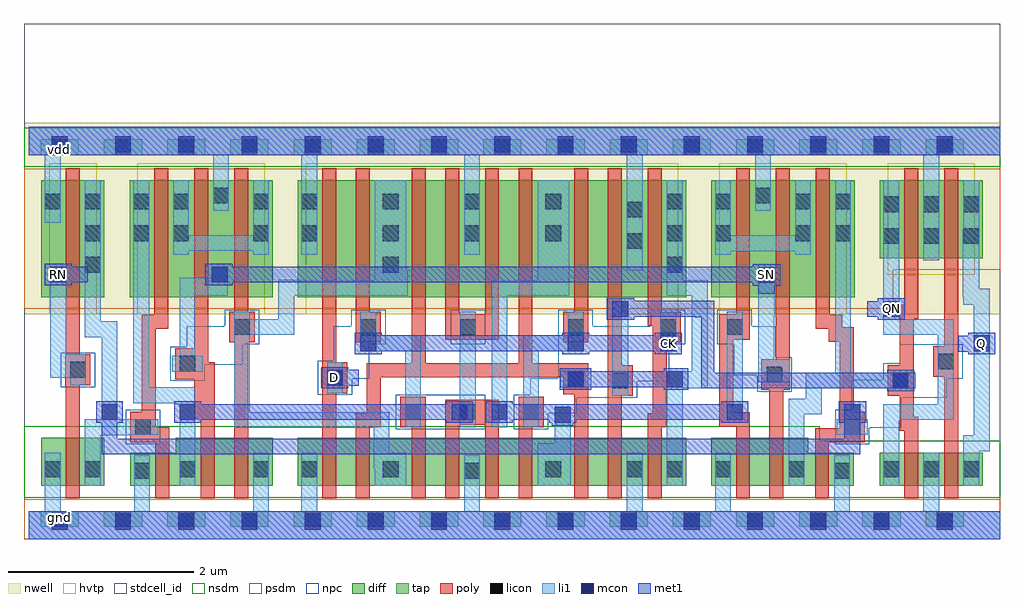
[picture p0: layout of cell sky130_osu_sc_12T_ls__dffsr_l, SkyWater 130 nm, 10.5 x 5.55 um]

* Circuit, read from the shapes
.subckt sky130_osu_sc_12T_ls__dffsr_l CK D Q QN RN SN gnd vdd
XM1 n1 RN gnd gnd sky130_fd_pr__nfet_01v8 w=0.52 l=0.15
XM2 n2 n1 gnd gnd sky130_fd_pr__nfet_01v8 w=0.36 l=0.15
XM3 n3 SN n2 gnd sky130_fd_pr__nfet_01v8 w=0.52 l=0.15
XM4 gnd n4 n3 gnd sky130_fd_pr__nfet_01v8 w=0.52 l=0.15
XM5 n5 D gnd gnd sky130_fd_pr__nfet_01v8 w=0.52 l=0.15
XM6 n4 n6 n5 gnd sky130_fd_pr__nfet_01v8 w=0.52 l=0.15
XM7 n7 CK n4 gnd sky130_fd_pr__nfet_01v8 w=0.52 l=0.15
XM8 gnd n2 n7 gnd sky130_fd_pr__nfet_01v8 w=0.52 l=0.15
XM9 n8 n2 gnd gnd sky130_fd_pr__nfet_01v8 w=0.52 l=0.15
XM10 n9 CK n8 gnd sky130_fd_pr__nfet_01v8 w=0.52 l=0.15
XM11 n10 n6 n9 gnd sky130_fd_pr__nfet_01v8 w=0.52 l=0.15
XM12 gnd n11 n10 gnd sky130_fd_pr__nfet_01v8 w=0.52 l=0.15
XM13 n6 CK gnd gnd sky130_fd_pr__nfet_01v8 w=0.52 l=0.15
XM14 n12 n9 gnd gnd sky130_fd_pr__nfet_01v8 w=0.52 l=0.15
XM15 n11 SN n12 gnd sky130_fd_pr__nfet_01v8 w=0.52 l=0.15
XM16 gnd n1 n11 gnd sky130_fd_pr__nfet_01v8 w=0.36 l=0.15
XM17 gnd n11 QN gnd sky130_fd_pr__nfet_01v8 w=0.36 l=0.15
XM18 Q QN gnd gnd sky130_fd_pr__nfet_01v8 w=0.36 l=0.15
XM19 n1 RN vdd vdd sky130_fd_pr__pfet_01v8_hvt w=1.26 l=0.15
XM20 n13 n1 n2 vdd sky130_fd_pr__pfet_01v8_hvt w=1.26 l=0.15
XM21 vdd SN n13 vdd sky130_fd_pr__pfet_01v8_hvt w=1.26 l=0.15
XM22 n13 n4 vdd vdd sky130_fd_pr__pfet_01v8_hvt w=1.26 l=0.15
XM23 n14 D vdd vdd sky130_fd_pr__pfet_01v8_hvt w=1.26 l=0.15
XM24 n4 CK n14 vdd sky130_fd_pr__pfet_01v8_hvt w=1.26 l=0.15
XM25 n15 n6 n4 vdd sky130_fd_pr__pfet_01v8_hvt w=1.26 l=0.15
XM26 vdd n2 n15 vdd sky130_fd_pr__pfet_01v8_hvt w=1.26 l=0.15
XM27 n16 n2 vdd vdd sky130_fd_pr__pfet_01v8_hvt w=1.26 l=0.15
XM28 n9 n6 n16 vdd sky130_fd_pr__pfet_01v8_hvt w=1.26 l=0.15
XM29 n17 CK n9 vdd sky130_fd_pr__pfet_01v8_hvt w=1.26 l=0.15
XM30 vdd n11 n17 vdd sky130_fd_pr__pfet_01v8_hvt w=1.26 l=0.15
XM31 n6 CK vdd vdd sky130_fd_pr__pfet_01v8_hvt w=1.26 l=0.15
XM32 vdd n9 n18 vdd sky130_fd_pr__pfet_01v8_hvt w=1.26 l=0.15
XM33 n18 SN vdd vdd sky130_fd_pr__pfet_01v8_hvt w=1.26 l=0.15
XM34 n11 n1 n18 vdd sky130_fd_pr__pfet_01v8_hvt w=1.26 l=0.15
XM35 vdd n11 QN vdd sky130_fd_pr__pfet_01v8_hvt w=0.84 l=0.15
XM36 Q QN vdd vdd sky130_fd_pr__pfet_01v8_hvt w=0.84 l=0.15
.ends

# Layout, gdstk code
import gdstk
lib = gdstk.Library(unit=1e-6, precision=1e-09)
def R(c, l, rs):  # rectangles x0, y0, x1, y1
    for r in rs: c.add(gdstk.rectangle(r[:2], r[2:], *l))
def A(c, l, x, y, w, h, nx, ny, dx, dy):  # array of equal rectangles
    R(c, l, [(x+i*dx, y+j*dy, x+i*dx+w, y+j*dy+h) for i in range(nx) for j in range(ny)])
nwell = (64, 20)
diff = (65, 20)
tap = (65, 44)
poly = (66, 20)
licon = (66, 44)
li1 = (67, 20)
mcon = (67, 44)
met1 = (68, 20)
hvtp = (78, 44)
stdcell_id = (81, 4)
nsdm = (93, 44)
psdm = (94, 20)
npc = (95, 20)

sky130_osu_sc_12t_ls__df = lib.new_cell('sky130_osu_sc_12T_ls__dffsr_l')
R(sky130_osu_sc_12t_ls__df, nwell, [(-0.05,2.425,10.45,4.485)])
R(sky130_osu_sc_12t_ls__df, diff, [(0.135,0.575,0.815,1.095), (1.095,0.575,2.625,0.935), (2.895,0.575,7.075,1.095), (7.345,0.575,8.875,0.935), (9.155,0.575,10.265,0.935), (1.585,0.935,2.625,1.095), (7.345,0.935,8.385,1.095), (0.135,2.605,0.815,3.865), (1.085,2.605,2.625,3.865), (2.895,2.605,7.075,3.865), (7.345,2.605,8.885,3.865), (9.155,3.025,10.265,3.865)])
A(sky130_osu_sc_12t_ls__df, tap, 0.13, 0.135, 0.41, 0.17, 15, 2, 0.68, 4)
R(sky130_osu_sc_12t_ls__df, poly, [(0.4,0.445,0.55,1.655), (1.36,0.445,1.51,1.045), (1.85,0.445,2,1.295), (2.21,0.445,2.36,2.12), (3.16,0.445,3.31,1.575), (3.52,0.445,3.67,1.205), (4.12,0.445,4.27,1.205), (4.48,0.445,4.63,1.235), (4.91,0.445,5.06,1.235), (5.27,0.445,5.42,1.205), (5.87,0.445,6.02,1.56), (6.23,0.445,6.38,1.545), (6.66,0.445,6.81,1.205), (7.61,0.445,7.76,1.21), (7.97,0.445,8.12,1.61), (8.46,0.445,8.61,1.045), (9.42,0.445,9.57,1.17), (9.85,0.445,10,1.75), (1.095,1.045,1.51,1.205), (8.46,1.045,8.995,1.195), (9.37,1.17,9.57,1.32), (8.725,1.195,8.995,1.375), (1.095,1.205,1.365,1.375), (3.52,1.205,3.79,1.355), (4,1.205,4.27,1.535), (5.27,1.205,5.54,1.535), (6.66,1.205,6.865,1.355), (7.43,1.21,7.76,1.37), (4.48,1.235,5.06,1.505), (1.78,1.295,2,1.725), (9.37,1.32,9.52,1.545), (3.64,1.355,3.79,1.745), (6.715,1.355,6.865,2.12), (7.43,1.37,7.58,2.15), (1.215,1.375,1.365,2.265), (8.725,1.375,8.875,2.125), (6.23,1.545,6.5,1.875), (9.245,1.545,9.52,1.875), (5.75,1.56,6.02,1.745), (3.16,1.575,3.43,1.905), (7.88,1.61,8.19,1.94), (0.395,1.655,0.55,1.66), (0.395,1.66,0.665,1.99), (1.575,1.725,2,1.905), (3.64,1.745,6.02,1.895), (9.73,1.75,10,2.08), (6.23,1.875,6.38,3.995), (9.37,1.875,9.52,2.375), (4.12,1.895,4.27,3.995), (5.27,1.895,5.42,3.995), (1.575,1.905,1.93,2.055), (3.16,1.905,3.31,3.995), (8.04,1.94,8.19,3.995), (0.4,1.99,0.55,3.995), (1.78,2.055,1.93,3.995), (9.85,2.08,10,3.995), (2.16,2.12,2.43,2.45), (3.52,2.12,3.79,2.45), (5.75,2.12,6.02,2.45), (6.715,2.12,7.015,2.3), (8.605,2.125,8.875,2.265), (4.48,2.15,5.06,2.42), (7.43,2.15,7.76,2.42), (1.215,2.265,1.5,2.415), (8.47,2.265,8.875,2.285), (8.47,2.285,8.755,2.415), (6.66,2.3,7.015,2.45), (9.37,2.375,9.57,2.525), (1.35,2.415,1.5,3.995), (8.47,2.415,8.62,3.995), (4.48,2.42,4.63,3.995), (4.91,2.42,5.06,3.995), (7.61,2.42,7.76,3.995), (2.21,2.45,2.36,3.995), (3.52,2.45,3.67,3.995), (5.87,2.45,6.02,3.995), (6.66,2.45,6.81,3.995), (9.42,2.525,9.57,3.995)])
A(sky130_osu_sc_12t_ls__df, licon, 0.25, 0.135, 0.17, 0.17, 15, 2, 0.68, 4)
A(sky130_osu_sc_12t_ls__df, licon, 9.195, 0.67, 0.17, 0.17, 3, 2, 0.43, 2.51)
A(sky130_osu_sc_12t_ls__df, licon, 0.605, 2.87, 0.17, 0.17, 1, 3, 0, 0.34)
A(sky130_osu_sc_12t_ls__df, licon, 6.865, 2.87, 0.17, 0.17, 1, 3, 0, 0.34)
A(sky130_osu_sc_12t_ls__df, licon, 2.935, 3.21, 0.17, 0.17, 4, 2, 0.875, 0.34)
A(sky130_osu_sc_12t_ls__df, licon, 9.195, 3.52, 0.17, 0.17, 3, 1, 0.43, 0)
R(sky130_osu_sc_12t_ls__df, licon, [(1.135,0.655,1.305,0.825), (4.685,0.655,4.855,0.825), (8.665,0.655,8.835,0.825), (0.175,0.67,0.345,0.84), (0.605,0.67,0.775,0.84), (1.625,0.67,1.795,0.84), (2.415,0.67,2.585,0.84), (2.935,0.67,3.105,0.84), (3.81,0.67,3.98,0.84), (5.56,0.67,5.73,0.84), (6.435,0.67,6.605,0.84), (6.865,0.67,7.035,0.84), (7.385,0.67,7.555,0.84), (8.175,0.67,8.345,0.84), (1.145,1.125,1.315,1.295), (8.775,1.125,8.945,1.295), (4.05,1.285,4.22,1.455), (4.64,1.285,4.81,1.455), (5.32,1.285,5.49,1.455), (6.28,1.625,6.45,1.795), (9.295,1.625,9.465,1.795), (5.8,1.64,5.97,1.81), (3.21,1.655,3.38,1.825), (7.94,1.69,8.11,1.86), (0.445,1.74,0.615,1.91), (1.625,1.805,1.795,1.975), (9.78,1.83,9.95,2), (2.21,2.2,2.38,2.37), (3.57,2.2,3.74,2.37), (4.64,2.2,4.81,2.37), (5.8,2.2,5.97,2.37), (6.795,2.2,6.965,2.37), (7.51,2.2,7.68,2.37), (3.81,2.87,3.98,3.04), (6.435,3.125,6.605,3.295), (1.125,3.21,1.295,3.38), (1.555,3.21,1.725,3.38), (2.415,3.21,2.585,3.38), (7.385,3.21,7.555,3.38), (8.245,3.21,8.415,3.38), (8.675,3.21,8.845,3.38), (6.435,3.465,6.605,3.635), (0.175,3.55,0.345,3.72), (1.125,3.55,1.295,3.72), (1.555,3.55,1.725,3.72), (2.415,3.55,2.585,3.72), (7.385,3.55,7.555,3.72), (8.245,3.55,8.415,3.72), (8.675,3.55,8.845,3.72), (1.985,3.615,2.155,3.785), (7.815,3.615,7.985,3.785)])
R(sky130_osu_sc_12t_ls__df, li1, [(0,0,10.45,0.305), (0.175,0.305,0.345,0.935), (1.135,0.305,1.305,0.905), (2.415,0.305,2.585,0.935), (2.935,0.305,3.105,0.935), (4.685,0.305,4.855,0.905), (6.435,0.305,6.605,0.935), (7.385,0.305,7.555,0.935), (8.665,0.305,8.835,0.905), (9.625,0.305,9.795,0.935), (0.605,0.575,0.775,1.12), (1.625,0.575,1.795,1.455), (3.725,0.575,4.065,0.765), (5.475,0.575,5.83,1.035), (6.865,0.575,7.035,1.625), (8.175,0.575,8.345,1.345), (9.195,0.575,9.365,1.285), (10.055,0.575,10.225,0.95), (3.71,0.765,4.065,0.935), (3.71,0.935,3.88,1.2), (10.055,0.95,10.34,1.12), (5.66,1.035,5.83,1.425), (0.605,1.12,1.095,1.125), (10.17,1.12,10.34,2.525), (0.605,1.125,1.395,1.295), (8.695,1.125,9.025,1.295), (2.21,1.2,3.88,1.37), (4.05,1.205,4.22,2.025), (4.64,1.205,4.81,1.285), (4.98,1.205,5.15,2.62), (5.32,1.205,5.49,2.025), (4.55,1.285,4.81,1.455), (7.51,1.285,7.68,2.45), (9.195,1.285,9.95,1.455), (0.785,1.295,0.955,2.175), (8.775,1.295,8.945,1.455), (8.175,1.345,8.53,1.515), (2.21,1.37,2.38,2.2), (1.565,1.455,1.795,1.465), (4.64,1.455,4.81,2.45), (9.78,1.455,9.95,2.2), (1.125,1.465,1.795,1.635), (8.36,1.515,8.53,1.625), (6.28,1.545,6.45,2.565), (3.21,1.575,3.38,1.905), (6.865,1.625,7.305,1.81), (8.36,1.625,9.545,1.795), (1.125,1.635,1.295,3.865), (5.72,1.64,6.05,1.81), (0.445,1.66,0.615,1.74), (7.85,1.69,8.19,1.94), (0.235,1.74,0.615,1.99), (8.675,1.795,8.845,3.865), (1.545,1.805,1.875,1.975), (7.135,1.81,7.305,2.62), (7.85,1.94,8.02,2.395), (1.625,1.975,1.795,2.62), (0.235,1.99,0.405,2.935), (3.57,2.025,4.22,2.195), (5.32,2.025,5.97,2.195), (6.795,2.025,6.965,2.45), (0.605,2.175,0.955,2.345), (3.57,2.195,3.74,2.45), (5.8,2.195,5.97,2.45), (2.21,2.2,2.855,2.37), (9.195,2.2,9.95,2.37), (0.605,2.345,0.775,3.865), (2.21,2.37,2.38,2.45), (2.685,2.37,2.855,2.62), (9.195,2.37,9.365,3.865), (7.85,2.395,8.025,2.93), (10.055,2.525,10.34,2.605), (10.05,2.605,10.34,2.695), (1.625,2.62,2.14,2.815), (2.685,2.62,4.08,2.79), (4.98,2.62,5.815,2.79), (6.865,2.62,7.305,2.79), (10.05,2.695,10.225,3.33), (2.685,2.79,2.855,2.795), (3.725,2.79,4.08,2.895), (5.475,2.79,5.815,3.865), (6.865,2.79,7.035,3.865), (1.97,2.815,2.14,2.935), (3.725,2.895,4.065,3.865), (6.435,2.895,6.605,4.135), (9.625,3.005,9.795,4.135), (1.555,3.065,1.725,3.105), (2.415,3.065,2.585,3.105), (2.935,3.065,3.105,4.135), (4.685,3.065,4.855,4.135), (7.385,3.065,7.555,3.1), (8.245,3.065,8.415,3.1), (7.385,3.1,8.415,3.27), (1.555,3.105,2.585,3.275), (7.385,3.27,7.555,3.865), (8.245,3.27,8.415,3.865), (1.555,3.275,1.725,3.865), (2.415,3.275,2.585,3.865), (10.055,3.33,10.225,3.865), (0.175,3.405,0.345,4.135), (1.985,3.535,2.155,4.135), (7.815,3.535,7.985,4.135), (0,4.135,10.45,4.44)])
A(sky130_osu_sc_12t_ls__df, mcon, 0.25, 0.105, 0.17, 0.17, 15, 2, 0.68, 4.06)
R(sky130_osu_sc_12t_ls__df, mcon, [(5.66,1.255,5.83,1.425), (0.785,1.285,0.955,1.455), (1.625,1.285,1.795,1.455), (4.55,1.285,4.72,1.455), (4.98,1.285,5.15,1.455), (7.51,1.285,7.68,1.455), (8.775,1.285,8.945,1.455), (9.295,1.625,9.465,1.795), (5.8,1.64,5.97,1.81), (6.865,1.64,7.035,1.81), (3.21,1.655,3.38,1.825), (3.57,2.025,3.74,2.195), (5.8,2.025,5.97,2.195), (6.795,2.025,6.965,2.195), (10.17,2.025,10.34,2.195), (6.28,2.395,6.45,2.565), (9.195,2.395,9.365,2.565), (7.85,2.76,8.02,2.93), (0.235,2.765,0.405,2.935), (1.97,2.765,2.14,2.935)])
R(sky130_osu_sc_12t_ls__df, met1, [(0,0,10.45,0.305), (0.785,0.915,8.945,1.085), (0.785,1.085,0.955,1.255), (8.775,1.085,8.945,1.255), (5.63,1.225,5.86,1.255), (0.725,1.255,1.015,1.485), (1.565,1.255,1.855,1.285), (4.49,1.255,4.78,1.285), (4.92,1.255,5.21,1.285), (5.6,1.255,5.89,1.285), (7.45,1.255,7.74,1.285), (8.715,1.255,9.01,1.485), (1.565,1.285,4.78,1.455), (4.92,1.285,7.74,1.455), (1.565,1.455,1.855,1.485), (4.49,1.455,4.78,1.485), (4.92,1.455,5.21,1.485), (7.45,1.455,7.74,1.485), (9.235,1.595,9.525,1.625), (5.715,1.61,6.05,1.64), (6.835,1.61,7.095,1.64), (3.15,1.625,3.44,1.655), (7.235,1.625,9.525,1.795), (5.715,1.64,7.095,1.81), (3.15,1.655,3.55,1.825), (7.235,1.795,7.375,2.39), (9.235,1.795,9.525,1.825), (5.715,1.81,6.05,1.84), (6.835,1.81,7.095,1.84), (3.15,1.825,3.44,1.855), (3.51,1.995,3.8,2.025), (5.74,1.995,6.03,2.025), (6.735,1.995,7.025,2.025), (10.11,1.995,10.4,2.02), (10,2.02,10.4,2.19), (3.51,2.025,7.025,2.195), (10.11,2.19,10.4,2.225), (3.51,2.195,3.8,2.225), (5.74,2.195,6.03,2.225), (6.735,2.195,7.025,2.225), (6.22,2.365,6.515,2.395), (9.135,2.365,9.425,2.395), (7.165,2.39,7.375,2.395), (6.22,2.395,7.375,2.57), (9.02,2.395,9.425,2.565), (9.135,2.565,9.425,2.595), (6.22,2.57,6.515,2.595), (7.85,2.645,8.025,2.73), (7.79,2.73,8.085,2.765), (0.175,2.735,0.465,2.765), (1.9,2.735,2.195,2.765), (0.175,2.765,0.635,2.935), (1.9,2.765,8.085,2.935), (0.175,2.935,0.465,2.965), (1.9,2.935,2.195,2.965), (7.79,2.935,8.085,2.96), (0,4.135,10.45,4.44)])
R(sky130_osu_sc_12t_ls__df, hvtp, [(0.22,2.425,0.73,4.045), (1.17,2.425,2.54,4.045), (2.98,2.425,6.99,4.045), (7.43,2.425,8.8,4.045), (9.24,2.845,10.18,4.045)])
R(sky130_osu_sc_12t_ls__df, stdcell_id, [(-0.05,0,10.45,5.55)])
R(sky130_osu_sc_12t_ls__df, nsdm, [(-0.05,0.45,10.45,1.06), (-0.05,1.06,8.51,1.22), (-0.05,4.01,10.45,4.43)])
R(sky130_osu_sc_12t_ls__df, psdm, [(-0.05,0,10.45,0.43), (-0.05,2.48,9.3,2.9), (-0.05,2.9,10.45,3.99)])
R(sky130_osu_sc_12t_ls__df, npc, [(1.045,1.025,1.415,1.395), (8.675,1.025,9.045,1.2), (3.95,1.185,4.91,1.555), (5.22,1.185,5.59,1.36), (8.675,1.2,9.39,1.395), (5.22,1.36,5.895,1.525), (8.85,1.395,9.39,1.525), (5.22,1.525,6.55,1.555), (8.85,1.525,9.875,1.72), (3.11,1.555,3.48,1.73), (5.395,1.555,6.55,1.7), (7.84,1.59,8.21,1.765), (0.345,1.64,0.715,2.01), (5.395,1.7,6.89,1.735), (1.525,1.705,1.895,1.88), (9.195,1.72,9.875,1.73), (3.11,1.73,3.665,1.925), (9.195,1.73,10.05,1.895), (5.7,1.735,6.89,2.1), (7.585,1.765,8.21,1.96), (1.525,1.88,2.305,2.075), (9.37,1.895,10.05,2.1), (3.285,1.925,3.665,2.1), (7.585,1.96,8.035,2.1), (1.7,2.075,2.305,2.1), (1.7,2.1,2.48,2.295), (3.285,2.1,3.84,2.295), (4.54,2.1,4.91,2.47), (5.7,2.1,7.065,2.295), (7.41,2.1,8.035,2.295), (2.11,2.295,2.48,2.47), (3.47,2.295,3.84,2.47), (5.7,2.295,6.07,2.47), (6.695,2.295,7.065,2.47), (7.41,2.295,7.78,2.47)])
sky130_osu_sc_12t_ls__df.add(gdstk.Label('gnd', (0.335,0.24), layer=68, texttype=16))
sky130_osu_sc_12t_ls__df.add(gdstk.Label('vdd', (0.335,4.2), layer=68, texttype=16))
sky130_osu_sc_12t_ls__df.add(gdstk.Label('D', (3.295,1.74), layer=68, texttype=5))
sky130_osu_sc_12t_ls__df.add(gdstk.Label('CK', (6.88,2.11), layer=68, texttype=5))
sky130_osu_sc_12t_ls__df.add(gdstk.Label('QN', (9.285,2.48), layer=68, texttype=5))
sky130_osu_sc_12t_ls__df.add(gdstk.Label('RN', (0.325,2.85), layer=68, texttype=5))
sky130_osu_sc_12t_ls__df.add(gdstk.Label('Q', (10.255,2.11), layer=68, texttype=5))
sky130_osu_sc_12t_ls__df.add(gdstk.Label('SN', (7.94,2.85), layer=68, texttype=5))

lib.write_gds('sky130_osu_sc_12T_ls__dffsr_l.gds')
